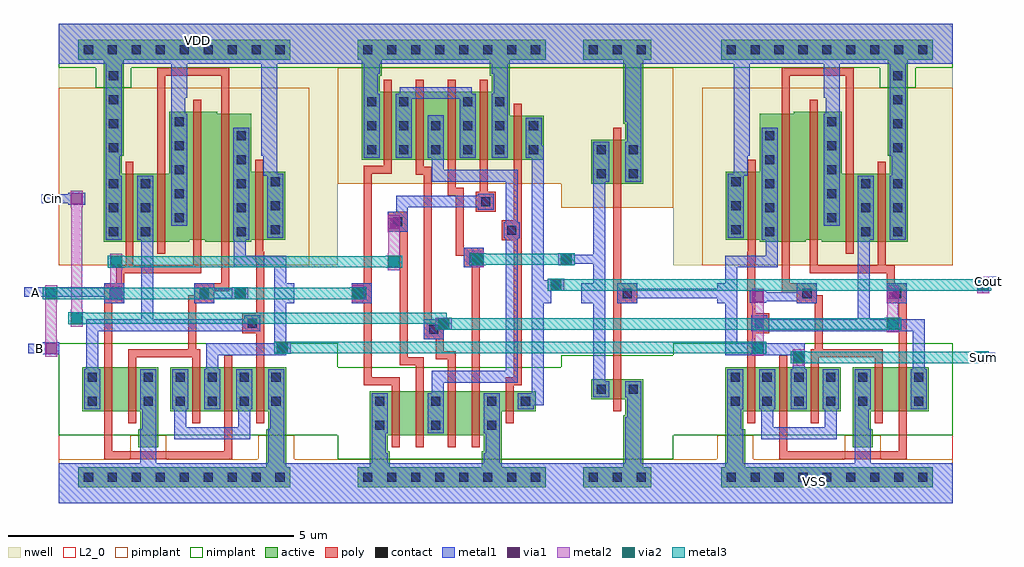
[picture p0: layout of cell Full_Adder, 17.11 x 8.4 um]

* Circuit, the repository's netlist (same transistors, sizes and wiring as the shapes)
* SPICE NETLIST
***************************************

.SUBCKT mimcap_g13 plus minus
.ENDS
***************************************
.SUBCKT spiral_inductor_lvs pos neg
.ENDS
***************************************
.SUBCKT xnor2 VDD VSS Y A0 A1
** N=9 EP=5 IP=0 FDC=10
M0 7 A0 6 VSS nmos L=1.4e-07 W=7.7e-07 $X=805 $Y=1610 $D=19
M1 VSS A1 7 VSS nmos L=1.4e-07 W=7.7e-07 $X=1225 $Y=1610 $D=19
M2 Y A1 8 VSS nmos L=1.4e-07 W=7.7e-07 $X=2345 $Y=1610 $D=19
M3 8 A0 Y VSS nmos L=1.4e-07 W=7.7e-07 $X=2905 $Y=1610 $D=19
M4 VSS 6 8 VSS nmos L=1.4e-07 W=7.7e-07 $X=3465 $Y=1610 $D=19
M5 6 A0 VDD VDD pmos L=1.4e-07 W=1.19e-06 $X=1175 $Y=4585 $D=25
M6 VDD A1 6 VDD pmos L=1.4e-07 W=1.19e-06 $X=1735 $Y=4585 $D=25
M7 9 A0 VDD VDD pmos L=1.4e-07 W=2.24e-06 $X=2365 $Y=4620 $D=25
M8 Y A1 9 VDD pmos L=1.4e-07 W=2.24e-06 $X=2855 $Y=4585 $D=25
M9 VDD 6 Y VDD pmos L=1.4e-07 W=1.19e-06 $X=3450 $Y=4620 $D=25
.ENDS
***************************************
.SUBCKT Full_Adder VSS VDD Cout B Cin A Sum
** N=13 EP=7 IP=10 FDC=32
M0 2 B VSS VSS nmos L=1.4e-07 W=7.7e-07 $X=5865 $Y=1220 $D=19
M1 3 A 2 VSS nmos L=1.4e-07 W=7.7e-07 $X=6285 $Y=1220 $D=19
M2 4 Cin 3 VSS nmos L=1.4e-07 W=7.7e-07 $X=6845 $Y=1220 $D=19
M3 VSS 7 4 VSS nmos L=1.4e-07 W=7.7e-07 $X=7265 $Y=1220 $D=19
M4 Cout 3 VSS VSS nmos L=1.4e-07 W=3.5e-07 $X=7860 $Y=1640 $D=19
M5 VSS Sum 7 VSS nmos L=1.4e-07 W=3.5e-07 $X=9750 $Y=1850 $D=19
M6 8 B VDD VDD pmos L=1.4e-07 W=1.19e-06 $X=5725 $Y=6050 $D=25
M7 3 Cin 8 VDD pmos L=1.4e-07 W=1.19e-06 $X=6285 $Y=6050 $D=25
M8 8 7 3 VDD pmos L=1.4e-07 W=1.19e-06 $X=6845 $Y=6050 $D=25
M9 VDD A 8 VDD pmos L=1.4e-07 W=1.19e-06 $X=7405 $Y=6050 $D=25
M10 Cout 3 VDD VDD pmos L=1.4e-07 W=7.7e-07 $X=8000 $Y=6050 $D=25
M11 VDD Sum 7 VDD pmos L=1.4e-07 W=7.7e-07 $X=9750 $Y=5630 $D=25
X12 VDD VSS 12 A B xnor2 $T=20 30 0 0 $X=20 $Y=30
X13 VDD VSS Sum Cin 12 xnor2 $T=15700 30 1 180 $X=10800 $Y=30
.ENDS
***************************************

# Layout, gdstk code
from math import pi, radians
import gdstk
lib = gdstk.Library(unit=1e-6, precision=1e-09)
def R(c, l, rs):  # rectangles x0, y0, x1, y1
    for r in rs: c.add(gdstk.rectangle(r[:2], r[2:], *l))
def A(c, l, x, y, w, h, nx, ny, dx, dy):  # array of equal rectangles
    R(c, l, [(x+i*dx, y+j*dy, x+i*dx+w, y+j*dy+h) for i in range(nx) for j in range(ny)])
def P(c, l, *ps):  # polygons
    for p in ps: c.add(gdstk.Polygon(p, *l))
L2_0 = (2, 0)
nwell = (3, 0)
active = (6, 0)
poly = (17, 0)
pimplant = (25, 0)
nimplant = (26, 0)
contact = (30, 0)
metal1 = (31, 0)
metal2 = (32, 0)
metal3 = (33, 0)
via1 = (51, 0)
via2 = (52, 0)

adk_poly_m1 = lib.new_cell('ADK_poly_m1')
R(adk_poly_m1, poly, [(-0.175,-0.175,0.175,0.175)])
R(adk_poly_m1, contact, [(-0.08,-0.08,0.08,0.08)])
R(adk_poly_m1, metal1, [(-0.175,-0.175,0.175,0.175)])

xnor2 = lib.new_cell('xnor2')
R(xnor2, L2_0, [(0,0,4.9,2.8)])
R(xnor2, nwell, [(0,4.165,4.9,8.4)])
P(xnor2, nwell, [(3.8,4.165),(3.8,4.2),(4.395,4.2),(4.395,6.23),(3.8,6.23),(3.8,7.245),(3.205,7.245),(3.205,7.28),(1.525,7.28),(1.525,6.195),(0.37,6.195),(0.37,4.165)])
R(xnor2, active, [(0.35,0.28,4.06,0.63), (3.64,0.63,3.99,1.295), (1.4,0.98,1.75,1.295), (1.435,1.295,1.75,1.61), (3.675,1.295,3.99,1.61), (0.42,1.61,0.805,2.38), (0.42,1.61,1.75,2.38), (1.365,1.61,1.75,2.38), (1.96,1.61,3.99,2.38), (1.96,1.61,2.345,2.38), (3.605,1.61,3.99,2.38), (0.79,4.585,1.175,5.775), (3.59,4.62,3.975,5.81), (0.79,5.775,1.105,6.09), (0.79,6.09,1.14,7.77), (0.35,7.77,4.06,8.12)])
P(xnor2, active, [(2.295,4.585),(2.295,4.62),(2.575,4.62),(2.575,4.585),(3.38,4.585),(3.38,4.62),(3.975,4.62),(3.975,5.81),(3.38,5.81),(3.38,6.825),(2.785,6.825),(2.785,6.86),(1.945,6.86),(1.945,5.775),(0.79,5.775),(0.79,4.585)])
A(xnor2, poly, 2.345, 1.4, 0.14, 0.21, 3, 2, 0.56, 0.98)
A(xnor2, poly, 2.345, 1.61, 0.14, 0.77, 3, 1, 0.56, 0)
R(xnor2, poly, [(0.805,1.4,0.945,1.61), (1.225,1.4,1.365,1.61), (0.805,1.61,0.945,2.38), (1.225,1.61,1.365,2.38), (0.805,2.38,0.945,2.59), (1.225,2.38,1.365,2.59), (0.805,2.555,0.945,3.5), (1.225,2.555,2.485,2.695), (3.465,2.555,3.605,4.41), (2.275,2.695,2.415,3.64), (3.22,2.975,3.57,3.325), (3.45,4.235,3.59,4.41), (1.175,4.375,1.315,4.585), (1.735,4.375,1.875,4.585), (2.855,4.375,2.995,4.585), (2.365,4.41,2.505,4.62), (3.45,4.41,3.59,4.62), (1.175,4.585,1.315,5.775), (1.735,4.585,1.875,5.775), (2.855,4.585,2.995,6.825), (2.365,4.62,2.505,6.86), (3.45,4.62,3.59,5.81), (1.175,5.775,1.315,5.985), (1.735,5.775,1.875,5.985), (3.45,5.81,3.59,6.02), (2.855,6.825,2.995,7.035), (2.365,6.86,2.505,7.07)])
P(xnor2, poly, [(1.175,4.03),(2.505,4.03),(2.505,4.41),(2.365,4.41),(2.365,4.17),(1.315,4.17),(1.315,4.41),(1.175,4.41)],
  [(1.735,5.95),(1.875,5.95),(1.875,7.49),(2.855,7.49),(2.855,7),(2.995,7),(2.995,7.63),(1.735,7.63)],
  [(2.73,3.71),(2.995,3.71),(2.995,4.425),(2.855,4.425),(2.855,3.85),(2.73,3.85)],
  [(1.015,3.85),(1.155,3.85),(1.155,4.025),(1.295,4.025),(1.295,4.165),(1.015,4.165)],
  [(0.805,0.77),(3.045,0.77),(3.045,1.435),(2.905,1.435),(2.905,0.91),(0.945,0.91),(0.945,1.435),(0.805,1.435)])
R(xnor2, pimplant, [(0,0,4.9,0.77), (1.26,0.77,1.89,1.19), (3.5,0.77,4.13,1.19), (0,4.165,4.395,7.28)])
R(xnor2, nimplant, [(0,1.19,2.17,2.8), (1.54,1.19,4.9,2.8), (0.65,7.28,1.28,7.63), (0,7.63,4.9,8.4)])
A(xnor2, contact, 0.445, 0.375, 0.16, 0.16, 9, 2, 0.42, 7.49)
A(xnor2, contact, 1.495, 1.705, 0.16, 0.16, 5, 2, 0.56, 0.42)
A(xnor2, contact, 0.885, 4.68, 0.16, 0.16, 1, 3, 0, 0.42)
A(xnor2, contact, 1.445, 4.68, 0.16, 0.16, 1, 3, 0, 0.42)
A(xnor2, contact, 3.125, 4.68, 0.16, 0.16, 1, 5, 0, 0.42)
A(xnor2, contact, 3.72, 4.715, 0.16, 0.16, 1, 3, 0, 0.42)
A(xnor2, contact, 2.04, 4.925, 0.16, 0.16, 1, 5, 0, 0.42)
A(xnor2, contact, 0.885, 6.15, 0.16, 0.16, 1, 4, 0, 0.42)
R(xnor2, contact, [(0.515,1.705,0.675,1.865), (0.515,2.125,0.675,2.285), (3.315,3.07,3.475,3.23)])
A(xnor2, metal1, 1.435, 1.645, 0.28, 0.7, 5, 1, 0.56, 0)
R(xnor2, metal1, [(0,0,4.9,0.7), (1.435,0.7,1.715,1.015), (3.675,0.7,3.955,1.295), (1.435,1.015,1.715,1.295), (1.47,1.295,1.715,1.645), (3.71,1.295,3.955,1.645), (0.455,1.645,0.735,2.345), (3.255,3.01,3.535,3.29), (1.455,3.22,1.665,4.62), (0.805,3.5,1.155,3.85), (2.38,3.5,2.73,3.85), (3.78,3.5,4.13,3.85), (3.78,3.5,4.13,3.85), (0.825,4.62,1.105,5.74), (1.385,4.62,1.665,5.74), (3.065,4.62,3.345,6.58), (3.66,4.655,3.94,5.775), (1.98,4.865,2.26,6.825), (0.825,5.74,1.07,6.09), (3.59,5.74,3.835,6.09), (0.825,6.09,1.105,7.7), (3.555,6.09,3.835,7.7), (1.98,6.79,2.225,7.105), (1.98,7.105,2.26,7.385), (1.98,7.385,2.26,7.7), (0,7.7,4.9,8.4)])
P(xnor2, metal1, [(0.49,2.345),(0.7,2.345),(0.7,3.01),(3.255,3.01),(3.255,3.22),(0.49,3.22)],
  [(2.03,1.12),(3.36,1.12),(3.36,1.645),(3.15,1.645),(3.15,1.33),(2.24,1.33),(2.24,1.645),(2.03,1.645)],
  [(3.07,4.13),(3.78,4.13),(3.78,3.85),(3.99,3.85),(3.99,4.34),(3.28,4.34),(3.28,4.62),(3.07,4.62)],
  [(2.59,2.345),(2.8,2.345),(2.8,2.59),(3.99,2.59),(3.99,3.5),(3.78,3.5),(3.78,2.8),(2.59,2.8)])
xnor2.add(gdstk.Reference(adk_poly_m1, (2.555,3.675)))
xnor2.add(gdstk.Reference(adk_poly_m1, (0.98,3.675)))
xnor2.add(gdstk.Label('VSS', (2.45,0.35), layer=131, texttype=0))
xnor2.add(gdstk.Label('VDD', (2.45,8.05), layer=131, texttype=0))
xnor2.add(gdstk.Label('Y', (3.955,3.675), layer=131, texttype=0))
xnor2.add(gdstk.Label('A0', (0.98,3.675), layer=131, texttype=0))
xnor2.add(gdstk.Label('A1', (2.555,3.675), layer=131, texttype=0))

ao22 = lib.new_cell('ao22')
R(ao22, L2_0, [(0,0,3.92,2.38)])
R(ao22, nwell, [(0,5.6,3.92,8.4)])
P(ao22, nwell, [(0,5.6),(3.92,5.6),(3.92,7.21),(3.43,7.21),(3.43,7.63),(0,7.63)])
R(ao22, active, [(0.35,0.28,3.64,0.63), (0.56,0.63,0.91,0.91), (2.52,0.63,2.87,0.91), (0.56,0.91,0.875,1.19), (2.555,0.91,2.87,1.19), (0.56,1.19,0.945,1.96), (3.08,1.61,3.465,1.96), (0.42,6.02,0.805,7.21), (3.22,6.02,3.605,6.79), (0.42,7.21,0.735,7.49), (2.695,7.21,3.01,7.49), (0.42,7.49,0.77,7.77), (2.66,7.49,3.01,7.77), (0.35,7.77,3.64,8.12)])
P(ao22, active, [(2.87,1.19),(2.87,1.61),(3.465,1.61),(3.465,1.96),(0.56,1.96),(0.56,1.19)],
  [(3.605,6.02),(3.605,6.79),(3.01,6.79),(3.01,7.21),(0.42,7.21),(0.42,6.02)])
A(ao22, poly, 0.805, 5.81, 0.14, 0.21, 4, 2, 0.56, 1.4)
A(ao22, poly, 0.805, 6.02, 0.14, 1.19, 4, 1, 0.56, 0)
R(ao22, poly, [(0.945,0.98,1.085,1.19), (1.365,0.98,1.505,1.19), (1.925,0.98,2.065,1.19), (2.345,0.98,2.485,1.19), (0.945,1.19,1.085,1.96), (1.365,1.19,1.505,1.96), (1.925,1.19,2.065,1.96), (2.345,1.19,2.485,1.96), (2.94,1.4,3.08,1.61), (2.94,1.61,3.08,1.96), (0.945,1.96,1.085,2.17), (1.365,1.96,1.505,2.17), (1.925,1.96,2.065,2.17), (2.345,1.96,2.485,2.17), (2.94,1.96,3.08,2.17), (2.87,4.61,3.22,4.96), (2.415,5.11,2.765,5.46), (3.08,5.81,3.22,6.02), (3.08,6.02,3.22,6.79), (3.08,6.79,3.22,7)])
R(ao22, pimplant, [(0,0,3.92,0.77), (0,5.6,3.92,7.63)])
R(ao22, nimplant, [(0,0.77,3.92,2.38), (0,7.63,3.92,8.4)])
A(ao22, contact, 0.445, 0.375, 0.16, 0.16, 8, 2, 0.42, 7.49)
A(ao22, contact, 0.655, 1.285, 0.16, 0.16, 3, 2, 0.98, 0.42)
A(ao22, contact, 0.515, 6.115, 0.16, 0.16, 5, 2, 0.56, 0.42)
R(ao22, contact, [(3.21,1.705,3.37,1.865), (2.965,4.705,3.125,4.865), (2.51,5.205,2.67,5.365), (3.35,6.115,3.51,6.275), (3.35,6.535,3.51,6.695), (0.515,6.955,0.675,7.115), (1.075,6.955,1.235,7.115), (2.195,6.955,2.355,7.115), (2.755,6.955,2.915,7.115)])
A(ao22, metal1, 0.595, 1.225, 0.28, 0.7, 3, 1, 0.98, 0)
R(ao22, metal1, [(0,0,3.92,0.7), (0,0,3.92,0.7), (0.595,0.7,0.875,0.875), (2.555,0.7,2.835,0.875), (0.595,0.875,0.84,1.225), (2.59,0.875,2.835,1.225), (3.15,1.645,3.43,1.925), (1.505,2.87,1.855,3.22), (0.245,3.5,0.595,3.85), (3.395,3.5,3.745,3.85), (2.205,4.13,2.555,4.48), (2.905,4.645,3.185,4.925), (0.875,4.76,1.225,5.11), (1.025,4.895,1.225,5.385), (2.45,5.145,2.73,5.425), (1.025,5.185,2.65,5.385), (0.455,6.055,0.735,7.175), (1.015,6.055,1.295,7.175), (1.575,6.055,1.855,6.8), (2.135,6.055,2.415,7.175), (2.695,6.055,2.975,7.175), (3.29,6.055,3.57,6.755), (0.455,7.175,0.7,7.525), (2.73,7.175,2.975,7.525), (0.455,7.525,0.735,7.7), (2.695,7.525,2.975,7.7), (0,7.7,3.92,8.4), (0,7.7,3.92,8.4)])
ao22.add(gdstk.FlexPath([(1.75,6.055),(1.75,5.74),(3.045,5.74),(3.045,4.925)], 0.21, ends="flush", simple_path=True, layer=31, datatype=0))  # metal1
ao22.add(gdstk.FlexPath([(3.045,4.91),(3.045,2.21),(1.75,2.21),(1.75,1.925)], 0.21, ends="flush", simple_path=True, layer=31, datatype=0))  # metal1
ao22.add(gdstk.FlexPath([(2.24,7.175),(2.24,7.19),(1.19,7.19),(1.19,7.175)], 0.21, ends="flush", simple_path=True, layer=31, datatype=0))  # metal1
ao22.add(gdstk.FlexPath([(3.5,6.265),(3.5,1.715)], 0.21, ends="flush", simple_path=True, layer=31, datatype=0))  # metal1
ao22.add(gdstk.FlexPath([(1.435,5.845),(1.435,5.83),(1.575,5.83),(1.575,3.22)], 0.14, ends="flush", simple_path=True, layer=17, datatype=0))  # poly
ao22.add(gdstk.FlexPath([(1.995,5.845),(1.995,5.46),(2.135,5.46),(2.135,4.34)], 0.14, ends="flush", simple_path=True, layer=17, datatype=0))  # poly
ao22.add(gdstk.FlexPath([(1.995,2.135),(1.995,2.59),(1.785,2.59),(1.785,2.87)], 0.14, ends="flush", simple_path=True, layer=17, datatype=0))  # poly
ao22.add(gdstk.FlexPath([(1.085,2.135),(0.525,2.135),(0.525,3.5)], 0.14, ends="flush", simple_path=True, layer=17, datatype=0))  # poly
ao22.add(gdstk.FlexPath([(3.15,5.845),(3.15,4.96)], 0.14, ends="flush", simple_path=True, layer=17, datatype=0))  # poly
ao22.add(gdstk.FlexPath([(2.555,5.845),(2.555,5.46)], 0.14, ends="flush", simple_path=True, layer=17, datatype=0))  # poly
ao22.add(gdstk.FlexPath([(1.435,2.135),(1.435,2.485),(1.155,2.485),(1.155,5.11)], 0.14, ends="flush", simple_path=True, layer=17, datatype=0))  # poly
ao22.add(gdstk.FlexPath([(2.415,2.135),(2.415,4.13)], 0.14, ends="flush", simple_path=True, layer=17, datatype=0))  # poly
ao22.add(gdstk.FlexPath([(3.15,4.61),(3.15,2.135),(2.94,2.135)], 0.14, ends="flush", simple_path=True, layer=17, datatype=0))  # poly
ao22.add(gdstk.FlexPath([(0.525,3.85),(0.525,5.845),(0.945,5.845)], 0.14, ends="flush", simple_path=True, layer=17, datatype=0))  # poly
ao22.add(gdstk.Reference(adk_poly_m1, (1.05,4.935)))
ao22.add(gdstk.Reference(adk_poly_m1, (1.68,3.045)))
ao22.add(gdstk.Reference(adk_poly_m1, (0.42,3.675)))
ao22.add(gdstk.Reference(adk_poly_m1, (2.38,4.305)))
ao22.add(gdstk.Label('VSS', (1.96,0.35), layer=131, texttype=0))
ao22.add(gdstk.Label('VDD', (1.96,8.05), layer=131, texttype=0))
ao22.add(gdstk.Label('A0', (1.05,4.935), layer=131, texttype=0))
ao22.add(gdstk.Label('A1', (0.42,3.675), layer=131, texttype=0))
ao22.add(gdstk.Label('Y', (3.57,3.675), layer=131, texttype=0))
ao22.add(gdstk.Label('B1', (2.38,4.305), layer=131, texttype=0))
ao22.add(gdstk.Label('B0', (1.68,3.045), layer=131, texttype=0))

inv01 = lib.new_cell('inv01')
R(inv01, L2_0, [(0,0,1.96,2.59)])
R(inv01, nwell, [(0,5.18,1.96,8.4), (0,5.18,1.96,7.63)])
R(inv01, active, [(0.385,0.28,1.575,0.63), (0.525,0.63,0.875,1.54), (0.525,1.54,0.84,1.82), (0.525,1.82,0.91,2.17), (0.525,1.82,1.435,2.17), (1.05,1.82,1.435,2.17), (0.525,5.6,0.91,6.37), (0.525,5.6,1.435,6.37), (1.05,5.6,1.435,6.37), (0.525,6.37,0.84,6.65), (0.525,6.65,0.875,7.77), (0.385,7.77,1.575,8.12)])
R(inv01, poly, [(0.91,1.61,1.05,1.82), (0.91,1.82,1.05,2.17), (0.91,2.17,1.05,2.38), (0.91,2.345,1.05,5.425), (0.91,5.39,1.05,5.6), (0.91,5.6,1.05,6.37), (0.91,6.37,1.05,6.58)])
R(inv01, pimplant, [(0,0,1.96,0.77), (0,5.18,1.96,7.63)])
R(inv01, nimplant, [(0,0.77,1.96,2.59), (0,7.63,1.96,8.4)])
A(inv01, contact, 0.48, 0.375, 0.16, 0.16, 3, 2, 0.42, 7.49)
R(inv01, contact, [(0.62,1.915,0.78,2.075), (1.18,1.915,1.34,2.075), (0.62,5.695,0.78,5.855), (1.18,5.695,1.34,5.855), (0.62,6.115,0.78,6.275), (1.18,6.115,1.34,6.275)])
R(inv01, metal1, [(0,0,1.96,0.7), (0,0,1.96,0.7), (0.56,0.7,0.84,1.505), (0.56,1.505,0.805,1.855), (0.56,1.855,0.84,2.135), (1.12,1.855,1.4,2.135), (1.19,2.135,1.4,5.635), (0.63,3.5,0.98,3.85), (1.26,3.5,1.61,3.85), (1.26,3.5,1.61,3.85), (0.56,5.635,0.84,6.335), (1.12,5.635,1.4,6.335), (0.56,6.335,0.805,6.685), (0.56,6.685,0.84,7.7), (0,7.7,1.96,8.4), (0,7.7,1.96,8.4)])
inv01.add(gdstk.Reference(adk_poly_m1, (0.805,3.675)))
inv01.add(gdstk.Label('Y', (1.435,3.675), layer=131, texttype=0))
inv01.add(gdstk.Label('A', (0.805,3.675), layer=131, texttype=0))
inv01.add(gdstk.Label('VDD', (0.98,8.05), layer=131, texttype=0))
inv01.add(gdstk.Label('VSS', (0.98,0.35), layer=131, texttype=0))

full_adder = lib.new_cell('Full_Adder')
R(full_adder, metal1, [(13.07,0.19,13.47,0.63), (12.9,2.44,13.11,2.73), (16.045,2.48,16.335,2.69), (16.045,2.506,16.445,2.666), (-0.255,2.635,0.035,2.845), (3.8,2.65,4.09,2.86), (-0.51,2.66,-0.11,2.82), (6.63,3.065,6.92,3.275), (12.14,3.54,12.43,3.75), (14.545,3.555,14.755,3.845), (5.165,3.56,5.375,3.85), (12.205,3.565,13.05,3.725), (3.06,3.6,3.35,3.81), (0.885,3.625,1.175,3.835), (2.67,3.625,3.285,3.785), (10.09,3.625,11.65,3.785), (-0.585,3.65,-0.185,3.81), (-0.265,3.65,0.905,3.81), (16.13,3.71,16.34,4), (8.6,3.75,8.89,3.96), (8.445,3.775,8.825,3.935), (16.13,3.84,16.53,4), (7.265,4.16,7.475,4.45), (8.78,4.2,9.07,4.41), (8.845,4.225,9.48,4.385), (5.795,4.79,6.005,5.08), (0.195,5.26,0.485,5.47), (-0.275,5.285,0.125,5.445), (0.045,5.285,0.42,5.445), (2.25,7.925,2.65,8.365)])
R(full_adder, metal2, [(12.9,2.44,13.11,2.73), (12.9,2.44,13.11,2.73), (16.045,2.48,16.335,2.69), (16.045,2.48,16.335,2.69), (-0.215,2.595,-0.005,2.885), (12.18,2.61,12.39,2.9), (-0.21,2.64,-0.01,3.805), (3.8,2.65,4.09,2.86), (3.8,2.65,4.09,2.86), (12.185,2.655,12.385,3.745), (14.545,3.025,14.755,3.315), (6.63,3.065,6.92,3.275), (6.63,3.065,6.92,3.275), (14.55,3.07,14.75,3.8), (0.235,3.125,0.445,3.415), (0.24,3.17,0.44,5.465), (12.18,3.5,12.39,3.79), (14.545,3.555,14.755,3.845), (-0.215,3.56,-0.005,3.85), (5.165,3.56,5.375,3.85), (5.165,3.56,5.375,3.85), (0.925,3.585,1.135,3.875), (3.06,3.6,3.35,3.81), (3.06,3.6,3.35,3.81), (0.93,3.63,1.13,4.36), (16.13,3.71,16.34,4), (16.13,3.71,16.34,4), (8.6,3.75,8.89,3.96), (8.6,3.75,8.89,3.96), (0.925,4.115,1.135,4.405), (5.795,4.115,6.005,4.405), (5.8,4.16,6,5.035), (7.265,4.16,7.475,4.45), (7.265,4.16,7.475,4.45), (8.78,4.2,9.07,4.41), (8.78,4.2,9.07,4.41), (5.795,4.79,6.005,5.08), (0.235,5.22,0.445,5.51)])
R(full_adder, metal3, [(12.86,2.48,13.15,2.69), (16.045,2.48,16.335,2.69), (12.905,2.485,16.29,2.685), (3.8,2.65,4.09,2.86), (12.14,2.65,12.43,2.86), (3.845,2.655,12.385,2.855), (6.63,3.065,6.92,3.275), (14.505,3.065,14.795,3.275), (6.675,3.07,14.75,3.27), (0.195,3.165,0.485,3.375), (0.24,3.17,6.83,3.37), (-0.255,3.6,0.035,3.81), (3.06,3.6,3.35,3.81), (5.125,3.6,5.415,3.81), (-0.21,3.605,3.16,3.805), (3.105,3.605,5.37,3.805), (8.6,3.75,8.89,3.96), (16.09,3.75,16.38,3.96), (8.645,3.755,16.335,3.955), (0.885,4.155,1.175,4.365), (5.755,4.155,6.045,4.365), (0.93,4.16,6,4.36), (7.225,4.2,7.515,4.41), (8.78,4.2,9.07,4.41), (7.27,4.205,9.025,4.405)])
R(full_adder, via1, [(12.91,2.49,13.1,2.68), (16.095,2.49,16.285,2.68), (-0.205,2.645,-0.015,2.835), (3.85,2.66,4.04,2.85), (6.68,3.075,6.87,3.265), (12.19,3.55,12.38,3.74), (14.555,3.605,14.745,3.795), (3.11,3.61,3.3,3.8), (5.175,3.61,5.365,3.8), (0.935,3.635,1.125,3.825), (8.65,3.76,8.84,3.95), (16.14,3.76,16.33,3.95), (7.275,4.21,7.465,4.4), (8.83,4.21,9.02,4.4), (5.805,4.84,5.995,5.03), (0.245,5.27,0.435,5.46)])
R(full_adder, via2, [(12.91,2.49,13.1,2.68), (16.095,2.49,16.285,2.68), (3.85,2.66,4.04,2.85), (12.19,2.66,12.38,2.85), (6.68,3.075,6.87,3.265), (14.555,3.075,14.745,3.265), (0.245,3.175,0.435,3.365), (-0.205,3.61,-0.015,3.8), (3.11,3.61,3.3,3.8), (5.175,3.61,5.365,3.8), (8.65,3.76,8.84,3.95), (16.14,3.76,16.33,3.95), (0.935,4.165,1.125,4.355), (5.805,4.165,5.995,4.355), (7.275,4.21,7.465,4.4), (8.83,4.21,9.02,4.4)])
full_adder.add(gdstk.Reference(xnor2, (0.02,0.03)))
full_adder.add(gdstk.Reference(xnor2, (15.7,0.03), rotation=pi, x_reflection=True))
full_adder.add(gdstk.Reference(ao22, (4.92,0.03)))
full_adder.add(gdstk.Reference(inv01, (10.8,0.03), rotation=pi, x_reflection=True))
full_adder.add(gdstk.Label('VSS', (13.27,0.41), layer=131, texttype=0))
full_adder.add(gdstk.Label('VDD', (2.45,8.145), layer=131, texttype=0))
full_adder.add(gdstk.Label('Sum', (16.245,2.586), layer=131, texttype=0))
full_adder.add(gdstk.Label('Cout', (16.33,3.92), layer=131, texttype=0))
full_adder.add(gdstk.Label('Cin', (-0.075,5.365), layer=131, texttype=0))
full_adder.add(gdstk.Label('B', (-0.31,2.74), layer=131, texttype=0))
full_adder.add(gdstk.Label('A', (-0.385,3.73), layer=131, texttype=0))

lib.write_gds('Full_Adder.gds')
